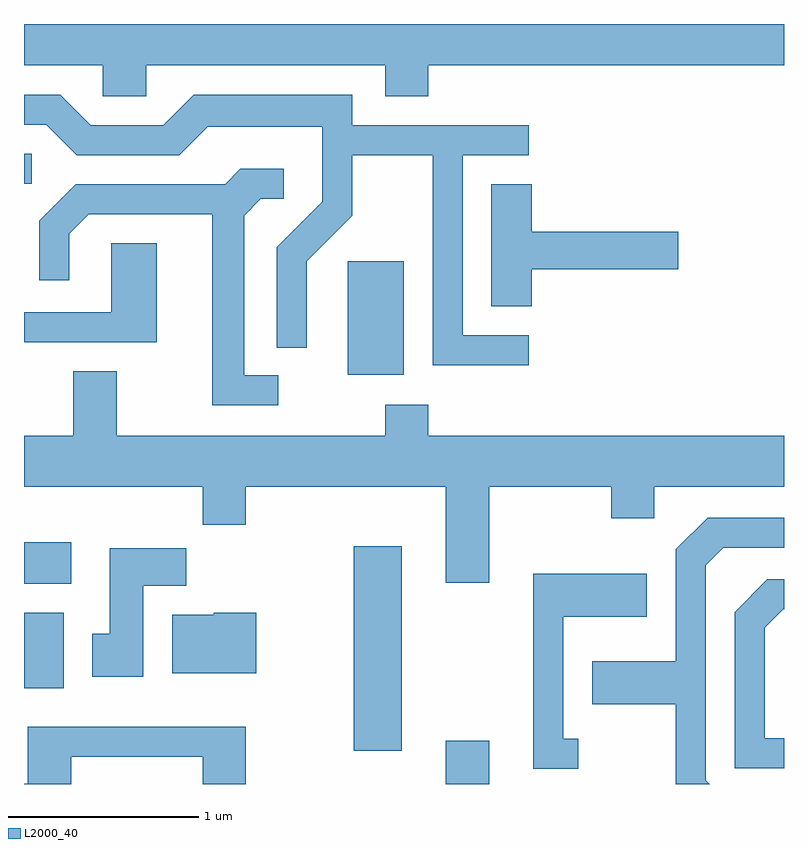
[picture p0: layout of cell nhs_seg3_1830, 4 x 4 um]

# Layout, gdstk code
import gdstk
lib = gdstk.Library(unit=1e-6, precision=1e-09)
def R(c, l, rs):  # rectangles x0, y0, x1, y1
    for r in rs: c.add(gdstk.rectangle(r[:2], r[2:], *l))
def P(c, l, *ps):  # polygons
    for p in ps: c.add(gdstk.Polygon(p, *l))
L2000_40 = (2000, 40)

nhs_seg3_1830 = lib.new_cell('nhs_seg3_1830')
R(nhs_seg3_1830, L2000_40, [(239.831,1239.892,240.059,1240.119), (239.346,1240.066,239.599,1241.144), (237.611,1240.396,237.819,1240.794), (237.611,1240.946,237.859,1241.164), (239.316,1242.046,239.609,1242.644), (237.611,1243.051,237.653,1243.209)])
P(nhs_seg3_1830, L2000_40, [(238.254,1243.676),(239.511,1243.676),(239.511,1243.511),(239.739,1243.511),(239.739,1243.676),(241.611,1243.676),(241.611,1243.892),(237.611,1243.892),(237.611,1243.676),(238.026,1243.676),(238.026,1243.511),(238.254,1243.511)],
  [(240.268,1242.254),(239.919,1242.254),(239.919,1243.201),(240.268,1243.201),(240.268,1243.359),(239.339,1243.359),(239.339,1243.519),(238.504,1243.519),(238.344,1243.359),(237.962,1243.359),(237.802,1243.519),(237.611,1243.519),(237.611,1243.361),(237.729,1243.361),(237.889,1243.201),(238.427,1243.201),(238.577,1243.351),(239.181,1243.351),(239.181,1242.957),(238.941,1242.717),(238.941,1242.188),(239.099,1242.188),(239.099,1242.644),(239.339,1242.884),(239.339,1243.201),(239.761,1243.201),(239.761,1242.096),(240.268,1242.096)],
  [(238.948,1242.044),(238.769,1242.044),(238.769,1242.884),(238.857,1242.971),(238.978,1242.971),(238.978,1243.129),(238.749,1243.129),(238.669,1243.049),(237.884,1243.049),(237.691,1242.857),(237.691,1242.543),(237.849,1242.543),(237.849,1242.789),(237.952,1242.891),(238.601,1242.891),(238.601,1241.886),(238.948,1241.886)],
  [(240.284,1242.601),(241.054,1242.601),(241.054,1242.799),(240.284,1242.799),(240.284,1243.049),(240.071,1243.049),(240.071,1242.406),(240.284,1242.406)],
  [(238.309,1242.739),(238.071,1242.739),(238.071,1242.374),(237.611,1242.374),(237.611,1242.216),(238.309,1242.216)],
  [(240.059,1241.456),(240.701,1241.456),(240.701,1241.291),(240.929,1241.291),(240.929,1241.456),(241.611,1241.456),(241.611,1241.724),(239.739,1241.724),(239.739,1241.889),(239.511,1241.889),(239.511,1241.724),(238.099,1241.724),(238.099,1242.064),(237.871,1242.064),(237.871,1241.724),(237.611,1241.724),(237.611,1241.456),(238.551,1241.456),(238.551,1241.256),(238.779,1241.256),(238.779,1241.456),(239.831,1241.456),(239.831,1240.951),(240.059,1240.951)],
  [(241.199,1239.912),(241.199,1241.044),(241.292,1241.136),(241.611,1241.136),(241.611,1241.294),(241.209,1241.294),(241.041,1241.127),(241.041,1240.539),(240.601,1240.539),(240.601,1240.311),(241.041,1240.311),(241.041,1239.892),(241.219,1239.892)],
  [(238.239,1240.936),(238.464,1240.936),(238.464,1241.134),(238.061,1241.134),(238.061,1240.684),(237.971,1240.684),(237.971,1240.456),(238.239,1240.456)],
  [(240.528,1240.129),(240.449,1240.129),(240.449,1240.771),(240.889,1240.771),(240.889,1240.999),(240.291,1240.999),(240.291,1239.971),(240.528,1239.971)],
  [(241.611,1240.134),(241.509,1240.134),(241.509,1240.714),(241.607,1240.811),(241.611,1240.811),(241.611,1240.969),(241.524,1240.969),(241.351,1240.797),(241.351,1239.976),(241.611,1239.976)],
  [(238.834,1240.794),(238.61,1240.794),(238.61,1240.784),(238.391,1240.784),(238.391,1240.476),(238.834,1240.476)],
  [(237.859,1240.036),(238.551,1240.036),(238.551,1239.892),(238.779,1239.892),(238.779,1240.194),(237.631,1240.194),(237.631,1239.894),(237.611,1239.894),(237.611,1239.892),(237.859,1239.892)])

lib.write_gds('nhs_seg3_1830.gds')
